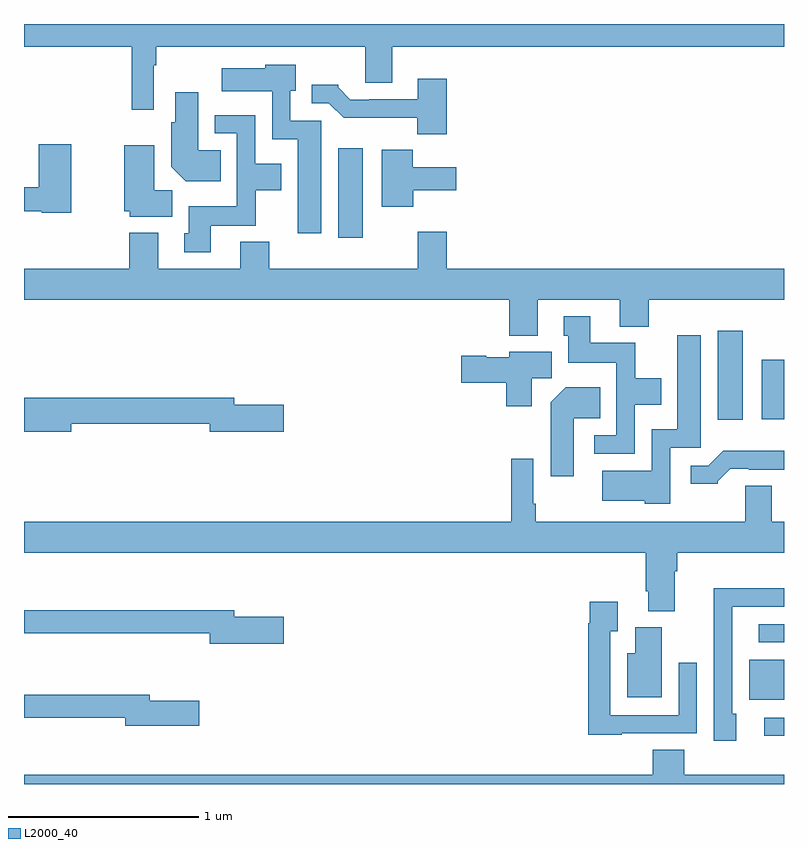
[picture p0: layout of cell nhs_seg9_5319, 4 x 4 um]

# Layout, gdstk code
import gdstk
lib = gdstk.Library(unit=1e-6, precision=1e-09)
def R(c, l, rs):  # rectangles x0, y0, x1, y1
    for r in rs: c.add(gdstk.rectangle(r[:2], r[2:], *l))
def P(c, l, *ps):  # polygons
    for p in ps: c.add(gdstk.Polygon(p, *l))
L2000_40 = (2000, 40)

nhs_seg9_5319 = lib.new_cell('nhs_seg9_5319')
R(nhs_seg9_5319, L2000_40, [(422.895,1232.753,423,1232.85), (422.816,1232.943,423,1233.154), (422.868,1233.246,423,1233.342), (422.651,1234.416,422.782,1234.885), (422.882,1234.421,423,1234.734), (420.653,1235.376,420.784,1235.845)])
P(nhs_seg9_5319, L2000_40, [(419.682,1236.284),(419.695,1236.284),(419.695,1236.38),(420.797,1236.38),(420.797,1236.19),(420.937,1236.19),(420.937,1236.38),(423,1236.38),(423,1236.5),(419,1236.5),(419,1236.38),(419.566,1236.38),(419.566,1236.048),(419.682,1236.048)],
  [(420.565,1235.991),(420.402,1235.991),(420.402,1236.15),(420.43,1236.15),(420.43,1236.286),(420.27,1236.286),(420.27,1236.268),(420.042,1236.268),(420.042,1236.146),(420.306,1236.146),(420.306,1235.894),(420.44,1235.894),(420.44,1235.4),(420.565,1235.4)],
  [(421.226,1236.211),(421.073,1236.211),(421.073,1236.105),(420.817,1236.105),(420.817,1236.102),(420.718,1236.102),(420.654,1236.166),(420.654,1236.181),(420.515,1236.181),(420.515,1236.084),(420.603,1236.084),(420.682,1236.006),(421.071,1236.006),(421.071,1235.921),(421.226,1235.921)],
  [(420.035,1235.836),(419.917,1235.836),(419.917,1236.142),(419.795,1236.142),(419.795,1235.982),(419.774,1235.982),(419.774,1235.75),(419.852,1235.672),(420.035,1235.672)],
  [(419.983,1235.438),(420.219,1235.438),(420.219,1235.624),(420.355,1235.624),(420.355,1235.764),(420.216,1235.764),(420.216,1236.021),(420.003,1236.021),(420.003,1235.925),(420.12,1235.925),(420.12,1235.542),(419.867,1235.542),(419.867,1235.4),(419.843,1235.4),(419.843,1235.298),(419.983,1235.298)],
  [(419.248,1235.866),(419.078,1235.866),(419.078,1235.642),(419,1235.642),(419,1235.514),(419.094,1235.514),(419.094,1235.506),(419.248,1235.506)],
  [(419.779,1235.624),(419.686,1235.624),(419.686,1235.863),(419.528,1235.863),(419.528,1235.514),(419.556,1235.514),(419.556,1235.486),(419.779,1235.486)],
  [(421.048,1235.624),(421.276,1235.624),(421.276,1235.746),(421.046,1235.746),(421.046,1235.839),(420.884,1235.839),(420.884,1235.538),(421.048,1235.538)],
  [(421.705,1235.048),(422.135,1235.048),(422.135,1234.907),(422.288,1234.907),(422.288,1235.048),(423,1235.048),(423,1235.212),(421.226,1235.212),(421.226,1235.407),(421.073,1235.407),(421.073,1235.212),(420.29,1235.212),(420.29,1235.353),(420.137,1235.353),(420.137,1235.212),(419.707,1235.212),(419.707,1235.401),(419.555,1235.401),(419.555,1235.212),(419,1235.212),(419,1235.048),(421.553,1235.048),(421.553,1234.859),(421.705,1234.859)],
  [(422.214,1234.496),(422.353,1234.496),(422.353,1234.636),(422.217,1234.636),(422.217,1234.822),(421.981,1234.822),(421.981,1234.963),(421.841,1234.963),(421.841,1234.86),(421.865,1234.86),(421.865,1234.718),(422.118,1234.718),(422.118,1234.335),(422.001,1234.335),(422.001,1234.239),(422.214,1234.239)],
  [(422.4,1234.269),(422.563,1234.269),(422.563,1234.861),(422.438,1234.861),(422.438,1234.366),(422.304,1234.366),(422.304,1234.15),(422.043,1234.15),(422.043,1233.992),(422.268,1233.992),(422.268,1233.974),(422.4,1233.974)],
  [(421.672,1234.636),(421.777,1234.636),(421.777,1234.774),(421.554,1234.774),(421.554,1234.747),(421.434,1234.747),(421.434,1234.755),(421.302,1234.755),(421.302,1234.613),(421.538,1234.613),(421.538,1234.488),(421.672,1234.488)],
  [(421.894,1234.424),(422.033,1234.424),(422.033,1234.588),(421.85,1234.588),(421.772,1234.51),(421.772,1234.119),(421.894,1234.119)],
  [(419.248,1234.396),(419.978,1234.396),(419.978,1234.354),(420.367,1234.354),(420.367,1234.496),(420.106,1234.496),(420.106,1234.532),(419,1234.532),(419,1234.354),(419.248,1234.354)],
  [(422.652,1234.094),(422.716,1234.158),(422.815,1234.158),(422.815,1234.155),(423,1234.155),(423,1234.255),(422.68,1234.255),(422.601,1234.176),(422.508,1234.176),(422.508,1234.079),(422.652,1234.079)],
  [(422.273,1233.514),(422.285,1233.514),(422.285,1233.409),(422.425,1233.409),(422.425,1233.62),(422.438,1233.62),(422.438,1233.716),(423,1233.716),(423,1233.88),(422.935,1233.88),(422.935,1234.07),(422.795,1234.07),(422.795,1233.88),(421.693,1233.88),(421.693,1233.976),(421.68,1233.976),(421.68,1234.213),(421.564,1234.213),(421.564,1233.88),(419,1233.88),(419,1233.716),(422.273,1233.716)],
  [(422.749,1232.871),(422.727,1232.871),(422.727,1233.432),(423,1233.432),(423,1233.53),(422.63,1233.53),(422.63,1233.226),(422.631,1233.226),(422.631,1232.727),(422.749,1232.727)],
  [(422.145,1232.766),(422.541,1232.766),(422.541,1233.139),(422.445,1233.139),(422.445,1232.862),(422.085,1232.862),(422.085,1233.304),(422.125,1233.304),(422.125,1233.46),(421.977,1233.46),(421.977,1233.347),(421.969,1233.347),(421.969,1232.759),(422.145,1232.759)],
  [(420.367,1233.381),(420.106,1233.381),(420.106,1233.415),(419,1233.415),(419,1233.294),(419.978,1233.294),(419.978,1233.239),(420.367,1233.239)],
  [(422.356,1233.324),(422.216,1233.324),(422.216,1233.189),(422.174,1233.189),(422.174,1232.957),(422.356,1232.957)],
  [(419.923,1232.937),(419.662,1232.937),(419.662,1232.971),(419,1232.971),(419,1232.85),(419.534,1232.85),(419.534,1232.807),(419.923,1232.807)],
  [(423,1232.548),(422.474,1232.548),(422.474,1232.681),(422.309,1232.681),(422.309,1232.548),(419,1232.548),(419,1232.5),(423,1232.5)])

lib.write_gds('nhs_seg9_5319.gds')
